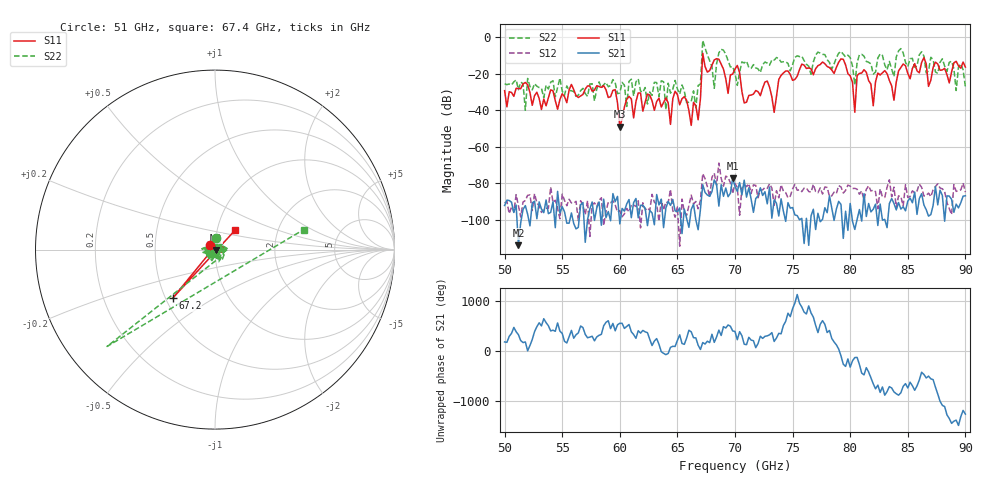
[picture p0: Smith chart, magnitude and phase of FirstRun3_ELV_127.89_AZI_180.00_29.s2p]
! 11/24/2026 3:39:50 PM
! C:\ANRITSUVNA\TEMP\TEMP.S2P
! CHANNEL.1
! TR.MEASUREMENT
! RAW.DATA
# HZ S RI R 50.0
! FREQ.HZ  S11RE  S11IM  S21RE  S21IM  S12RE  S12IM  S22RE  S22IM
!; PortSelection: Port_12
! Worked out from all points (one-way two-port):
!   201 points, 50 GHz to 90 GHz, reference 50 ohm
!   highest |S21| = -77.20 dB at 69.8 GHz (marker M1); lowest = -114.0 dB at 51.2 GHz (marker M2)
!   lowest |S11| = -49.0 dB at 60 GHz (marker M3), VSWR 1.01, Z = 50.3 - j0.155 ohm
!   |S11| at or under -10 dB: start of sweep to 67.19 GHz; 67.23 GHz to end of sweep
!   |S22| runs from -40.0 to -1.9 dB; largest |S21 - S12| = 0.00034
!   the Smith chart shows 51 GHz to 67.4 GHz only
!   S11 on the Smith chart (normalised r, x): 51 GHz: 0.94, +0.05; 67.2 GHz: 0.54, -0.34; 67.4 GHz: 1.22, +0.27
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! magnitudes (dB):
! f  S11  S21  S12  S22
! 50 GHz  -29.3  -92.2  -90.8  -25.6
! 51 GHz  -28.1  -91.9  -86.2  -23.4
! 51.2 GHz  -28.2  -114.0  -92.5  -28.8
! 56.8 GHz  -31.4  -90.5  -92.3  -28.1
! 59.6 GHz  -28.8  -90.1  -91.7  -25.0
! 60 GHz  -49.0  -102.3  -95.0  -30.6
! 63.4 GHz  -33.4  -91.9  -100.9  -32.6
! 66.8 GHz  -45.3  -105.5  -94.0  -26.5
! 67.2 GHz  -8.9  -80.8  -74.7  -1.9
! 67.4 GHz  -16.1  -85.0  -77.5  -5.9
! 68.2 GHz  -12.5  -78.2  -74.5  -28.0
! 68.8 GHz  -14.8  -80.8  -77.4  -6.7
! 69.8 GHz  -20.3  -77.2  -85.7  -16.1
! 70 GHz  -17.5  -81.8  -80.2  -19.9
! 73.4 GHz  -41.2  -89.1  -92.0  -12.6
! 74.2 GHz  -19.7  -95.3  -84.3  -13.5
! 76.8 GHz  -20.6  -94.2  -80.6  -13.6
! 79.4 GHz  -12.2  -110.2  -85.4  -9.4
! 80.4 GHz  -41.1  -105.3  -82.8  -26.2
! 80.6 GHz  -21.1  -100.0  -83.3  -14.0
! 83.4 GHz  -23.7  -91.1  -78.1  -13.3
! 90 GHz  -16.4  -86.9  -84.9  -27.3
